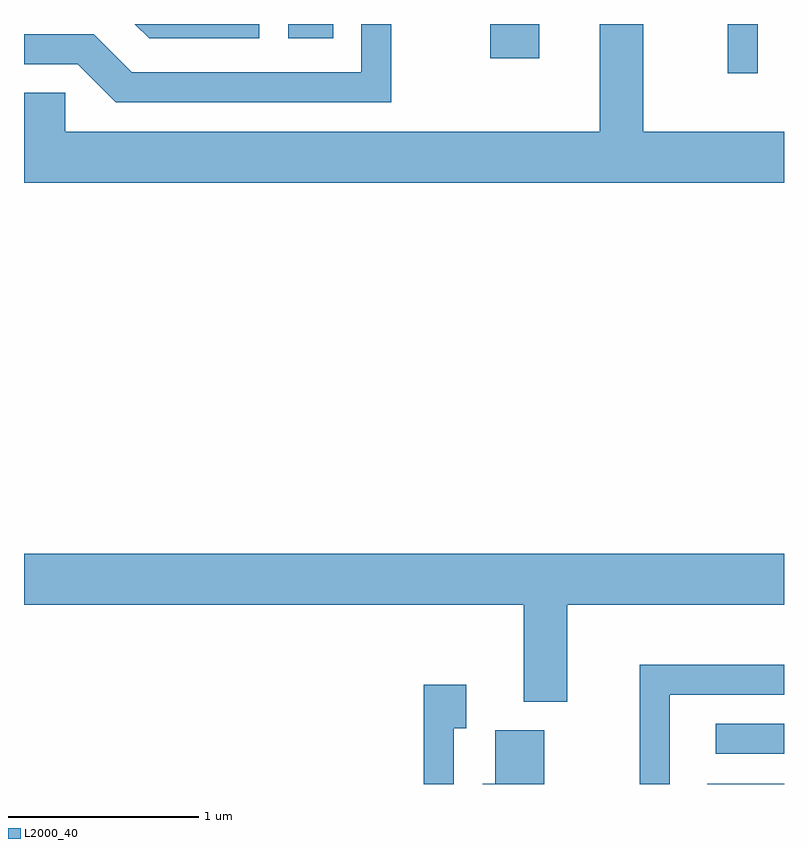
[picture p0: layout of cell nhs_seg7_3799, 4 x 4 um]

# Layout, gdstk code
import gdstk
lib = gdstk.Library(unit=1e-6, precision=1e-09)
def R(c, l, rs):  # rectangles x0, y0, x1, y1
    for r in rs: c.add(gdstk.rectangle(r[:2], r[2:], *l))
def P(c, l, *ps):  # polygons
    for p in ps: c.add(gdstk.Polygon(p, *l))
L2000_40 = (2000, 40)

nhs_seg7_3799 = lib.new_cell('nhs_seg7_3799')
R(nhs_seg7_3799, L2000_40, [(305.206,1722.252,305.611,1722.254), (305.253,1722.411,305.611,1722.569), (305.316,1725.993,305.474,1726.252), (304.066,1726.071,304.324,1726.252), (303.001,1726.176,303.238,1726.252)])
P(nhs_seg7_3799, L2000_40, [(305.611,1725.684),(304.869,1725.684),(304.869,1726.252),(304.641,1726.252),(304.641,1725.684),(301.829,1725.684),(301.829,1725.889),(301.611,1725.889),(301.611,1725.416),(305.611,1725.416)],
  [(303.544,1726.252),(303.386,1726.252),(303.386,1725.999),(302.177,1725.999),(301.977,1726.199),(301.611,1726.199),(301.611,1726.041),(301.894,1726.041),(302.094,1725.841),(303.544,1725.841)],
  [(302.849,1726.252),(302.193,1726.252),(302.269,1726.176),(302.849,1726.176)],
  [(304.469,1723.196),(305.611,1723.196),(305.611,1723.464),(301.611,1723.464),(301.611,1723.196),(304.241,1723.196),(304.241,1722.686),(304.469,1722.686)],
  [(305.009,1722.721),(305.611,1722.721),(305.611,1722.879),(304.851,1722.879),(304.851,1722.252),(305.009,1722.252)],
  [(303.874,1722.546),(303.939,1722.546),(303.939,1722.774),(303.716,1722.774),(303.716,1722.252),(303.874,1722.252)],
  [(304.349,1722.534),(304.091,1722.534),(304.091,1722.254),(304.026,1722.254),(304.026,1722.252),(304.349,1722.252)])

lib.write_gds('nhs_seg7_3799.gds')
